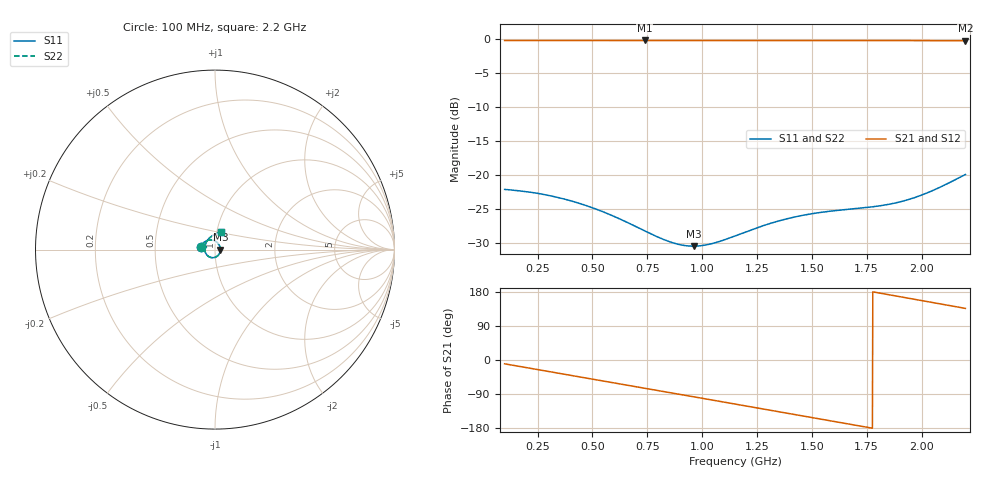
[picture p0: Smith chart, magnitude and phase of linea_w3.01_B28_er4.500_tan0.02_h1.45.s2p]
! Chirptenna · simulación 3D de una microstrip de dos puertos (S12 = S21, S22 = S11 por simetría)
# HZ S RI R 50
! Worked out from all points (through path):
!   1101 points, 100 MHz to 2.2 GHz, reference 50 ohm
!   highest |S21| = -0.14 dB at 737.6 MHz (marker M1); lowest = -0.2 dB at 2.2 GHz (marker M2)
!   group delay of S21, straight-line fit = 282 ps
!   lowest |S11| = -30.5 dB at 961 MHz (marker M3), VSWR 1.06, Z = 53.1 - j0.0567 ohm
!   |S11| at or under -10 dB: start of sweep to end of sweep
!   |S22| runs from -30.5 to -19.9 dB; largest |S21 - S12| = 0
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1e8  -0.0767 0.0171  0.9674 -0.1718  0.9674 -0.1718  -0.0767 0.0171
1.820909e8  -0.07 0.0301  0.9327 -0.3091  0.9327 -0.3091  -0.07 0.0301
2.699091e8  -0.0595 0.0415  0.8742 -0.4489  0.8742 -0.4489  -0.0595 0.0415
3.596364e8  -0.0458 0.0496  0.7929 -0.5808  0.7929 -0.5808  -0.0458 0.0496
4.512727e8  -0.0299 0.0534  0.6895 -0.7008  0.6895 -0.7008  -0.0299 0.0534
5.982727e8  -0.00403 0.0496  0.4871 -0.8543  0.4871 -0.8543  -0.00403 0.0496
7.376364e8  0.0163 0.0354  0.2644 -0.9473  0.2644 -0.9473  0.0163 0.0354
8.006364e8  0.0229 0.0263  0.1575 -0.9707  0.1575 -0.9707  0.0229 0.0263
8.865455e8  0.0285 0.0123  0.00889 -0.9833  0.00889 -0.9833  0.0285 0.0123
9.61e8  0.03 -0.000534  -0.1203 -0.9758  -0.1203 -0.9758  0.03 -0.000534
1.041182e9  0.0278 -0.0141  -0.2569 -0.9488  -0.2569 -0.9488  0.0278 -0.0141
1.15e9  0.0191 -0.0301  -0.4336 -0.8818  -0.4336 -0.8818  0.0191 -0.0301
1.318e9  -0.00432 -0.0443  -0.6728 -0.7155  -0.6728 -0.7155  -0.00432 -0.0443
1.411545e9  -0.02 -0.0445  -0.7816 -0.5944  -0.7816 -0.5944  -0.02 -0.0445
1.501273e9  -0.0346 -0.0389  -0.8659 -0.4627  -0.8659 -0.4627  -0.0346 -0.0389
1.591e9  -0.0469 -0.0277  -0.9283 -0.3191  -0.9283 -0.3191  -0.0469 -0.0277
1.678818e9  -0.055 -0.0119  -0.9667 -0.1704  -0.9667 -0.1704  -0.055 -0.0119
1.764727e9  -0.0577 0.00705  -0.9813 -0.0205  -0.9813 -0.0205  -0.0577 0.00705
1.850636e9  -0.0541 0.0281  -0.9727 0.1303  -0.9727 0.1303  -0.0541 0.0281
1.934636e9  -0.0437 0.049  -0.9417 0.2752  -0.9417 0.2752  -0.0437 0.049
2.018636e9  -0.0263 0.0684  -0.8888 0.414  -0.8888 0.414  -0.0263 0.0684
2.2e9  0.0338 0.0954  -0.7053 0.6773  -0.7053 0.6773  0.0338 0.0954
